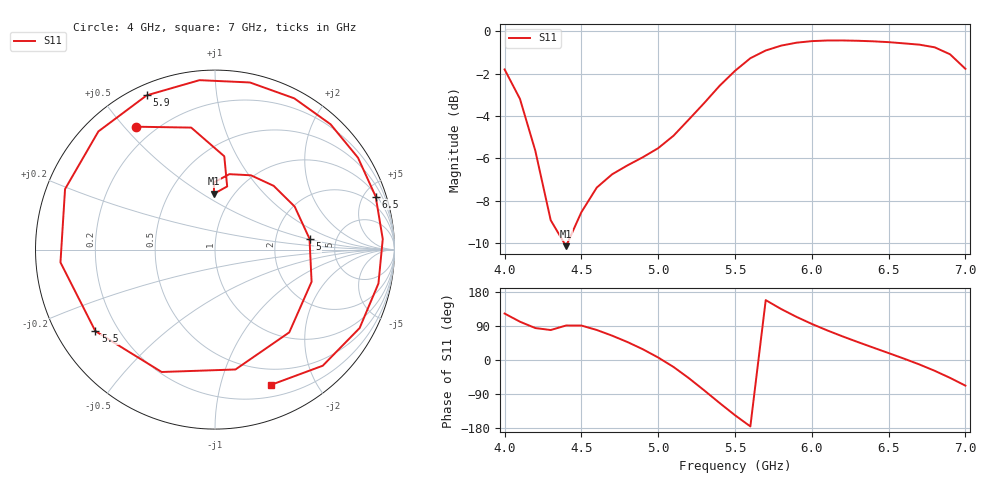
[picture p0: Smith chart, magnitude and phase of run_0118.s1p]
! Touchstone file exported from HFSS 2024.2.0
!  File:  C:/Users/wsak9/Desktop/Sim Fast/Widenad Patch/WP_AI_V1_sweep.aedt
!  Generated:  07:49:39 PM Oct 13, 2026
!  Design:  A1_model
!  Project:  WP_AI_V1_sweep
!  Setup:  Setup1
!  Solution:  Sweep
! Variables:
!  Air_gap = 4.67mm
!  Curve_Amp1 = 2.63
!  Curve_len1 = 1
!  Curve_pos = 12.6mm
!  Extra = 6.28mm
!  H_sub = 0.79mm
!  L_Patch = 21.2mm
!  L_Patch1 = 18.28mm
!  Sx = 2.61mm
!  Sy = 3.65mm
!  WS = 1.21mm
!  W_Patch = 20.1mm
!  W_Patch1 = 12mm
!Data is not renormalized
# GHz S MA
! Terminal data exported
! Port[1] = 1
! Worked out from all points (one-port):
!   31 points, 4 GHz to 7 GHz, reference per port
!   lowest |S11| = -10.1 dB at 4.4 GHz (marker M1), VSWR 1.90
!   |S11| at or under -10 dB: 4.388651 GHz to 4.408672 GHz (20.02 MHz wide, 0.455 % of centre)
!   S11 on the Smith chart (normalised r, x): 4 GHz: 0.13, +0.54; 5 GHz: 3.16, +0.53; 5.5 GHz: 0.12, -0.30; 5.9 GHz: 0.04, +0.65; 6.5 GHz: 1.13, +6.02; 7 GHz: 0.32, -1.44
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4  0.8129 122.6
4.1  0.6926 101.0
4.2  0.5224 84.3
4.3  0.3584 79.1
4.4  0.3112 91.0
4.5  0.3744 90.9
4.6  0.4279 79.2
4.8  0.4827 47.4
4.9  0.5045 28.4
5  0.53 6.5
5.1  0.5672 -18.4
5.2  0.6196 -48.1
5.3  0.6776 -80.3
5.4  0.7439 -113.6
5.5  0.8066 -145.7
5.6  0.864 -175.3
5.7  0.9009 158.0
5.8  0.925 134.6
5.9  0.9399 113.9
6  0.948 95.2
6.1  0.9513 78.2
6.3  0.9498 47.3
6.5  0.9428 18.3
6.6  0.9365 3.6
6.7  0.93 -11.7
6.8  0.9167 -28.5
6.9  0.8826 -47.1
7  0.8156 -67.6
